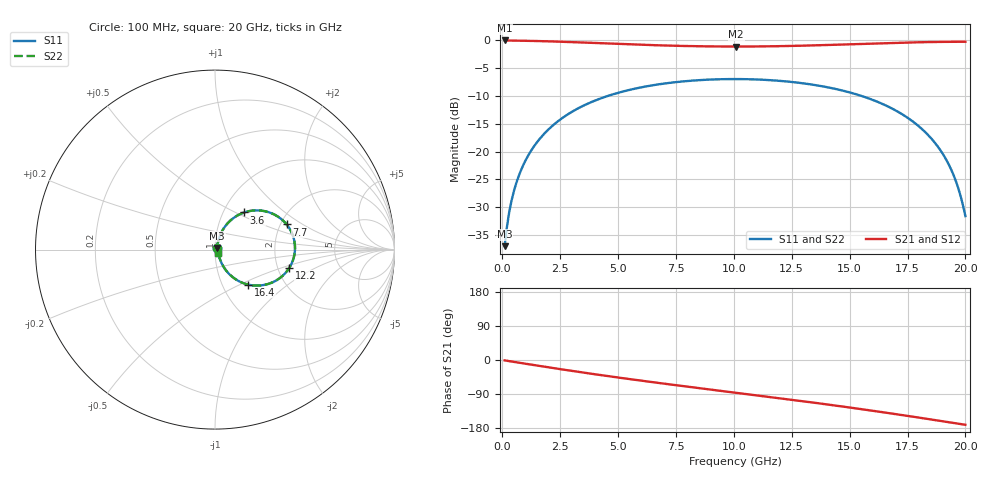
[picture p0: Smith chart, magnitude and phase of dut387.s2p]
! Touchstone file exported from HFSS 2026.1.0
!  File:  C:/ffzhzh/LocalFiles/Ansys_Project_Files/temp_train_TSV_RDL_387_1783090550_53076.aedt
!  Generated:  11:05:59 PM Jul  3, 2026
!  Design:  TSV_RDL
!  Project:  temp_train_TSV_RDL_387_1783090550_53076
! Variables:
!  h_bsmrdl = 5.27um
!  h_ox = 20um
!  h_rdl = 5um
!  h_sub = 67.97um
!  h_tmrdl = 3.01um
!  h_tsv = 67.97um
!  h_via = 3um
!  l_bsmrdl = 544.33um
!  l_sub = 2932.94um
!  l_tmrdl = 192.04um
!  m_sub = 200um
!  pitch = 45.42um
!  r_tsv = 8.21um
!  s_tmrdl = 10um
!  w_bsmrdl = 24.52um
!  w_sub = 500um
!  w_tmrdl = 19.41um
!  x_tsv_center1 = 201.745um
!  x_tsv_center2 = 770.595um
!  x_tsv_center3 = 982.045um
!  x_tsv_center4 = 1550.895um
!  x_tsv_center5 = 1762.345um
!  x_tsv_center6 = 2331.195um
# GHz S MA R 50.000000
! Terminal data exported
! Port[1] = TM_RDL1_1_T1
! Port[2] = TM_RDL5_1_T1
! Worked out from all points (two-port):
!   200 points, 100 MHz to 20 GHz, reference 50 ohm
!   highest |S21| = -0.10 dB at 100 MHz (marker M1); lowest = -1.2 dB at 10.1 GHz (marker M2)
!   |S21| within 3 dB of the highest: start of sweep to end of sweep
!   lowest |S11| = -37.0 dB at 100 MHz (marker M3), VSWR 1.03, Z = 51.1 + j0.9 ohm
!   |S11| at or under -10 dB: start of sweep to 4.587 GHz; 15.48 GHz to end of sweep
!   |S22| runs from -37.0 to -7.0 dB; largest |S21 - S12| = 3.9e-13
!   S11 on the Smith chart (normalised r, x): 100 MHz: 1.02, +0.02; 3.6 GHz: 1.25, +0.56; 7.7 GHz: 2.15, +0.74; 12.2 GHz: 2.31, -0.58; 16.4 GHz: 1.32, -0.55; 20 GHz: 1.04, -0.04
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0.1  0.01418 38.4  0.989 -1.0  0.989 -1.0  0.01418 38.4
! Gamma 0 0 0 0
! Port Impedance 50 0 50 0
0.3  0.02868 62.0  0.9876 -3.0  0.9876 -3.0  0.02868 62.0
0.5  0.04409 67.9  0.986 -5.0  0.986 -5.0  0.04409 67.9
0.8  0.06734 70.3  0.9838 -7.9  0.9838 -7.9  0.06734 70.3
1.1  0.09058 70.1  0.9813 -10.8  0.9813 -10.8  0.09058 70.1
2.1  0.1653 64.0  0.9699 -20.3  0.9699 -20.3  0.1653 64.0
3.5  0.2573 52.7  0.9475 -33.2  0.9475 -33.2  0.2573 52.7
3.6  0.2632 51.8  0.9457 -34.1  0.9457 -34.1  0.2632 51.8
5  0.3357 40.4  0.9212 -46.2  0.9212 -46.2  0.3357 40.4
6.8  0.4013 26.2  0.894 -61.0  0.894 -61.0  0.4013 26.2
7.7  0.4229 19.4  0.884 -68.0  0.884 -68.0  0.4229 19.4
10.1  0.446 1.6  0.8723 -86.5  0.8723 -86.5  0.446 1.6
12.2  0.426 -13.9  0.8809 -102.6  0.8809 -102.6  0.426 -13.9
13.4  0.3973 -23.0  0.8928 -112.1  0.8928 -112.1  0.3973 -23.0
14.9  0.343 -34.7  0.9124 -124.5  0.9124 -124.5  0.343 -34.7
16.4  0.268 -46.6  0.9338 -137.5  0.9338 -137.5  0.268 -46.6
16.7  0.2507 -49.0  0.9379 -140.2  0.9379 -140.2  0.2507 -49.0
18  0.1676 -58.8  0.953 -152.1  0.953 -152.1  0.1676 -58.8
18.9  0.1042 -63.7  0.9598 -160.5  0.9598 -160.5  0.1042 -63.7
19.5  0.06067 -62.7  0.9622 -166.2  0.9622 -166.2  0.06066 -62.8
19.8  0.03941 -56.8  0.9627 -169.1  0.9627 -169.1  0.03939 -56.8
20  0.02637 -45.1  0.9628 -171.0  0.9628 -171.0  0.02634 -45.2
